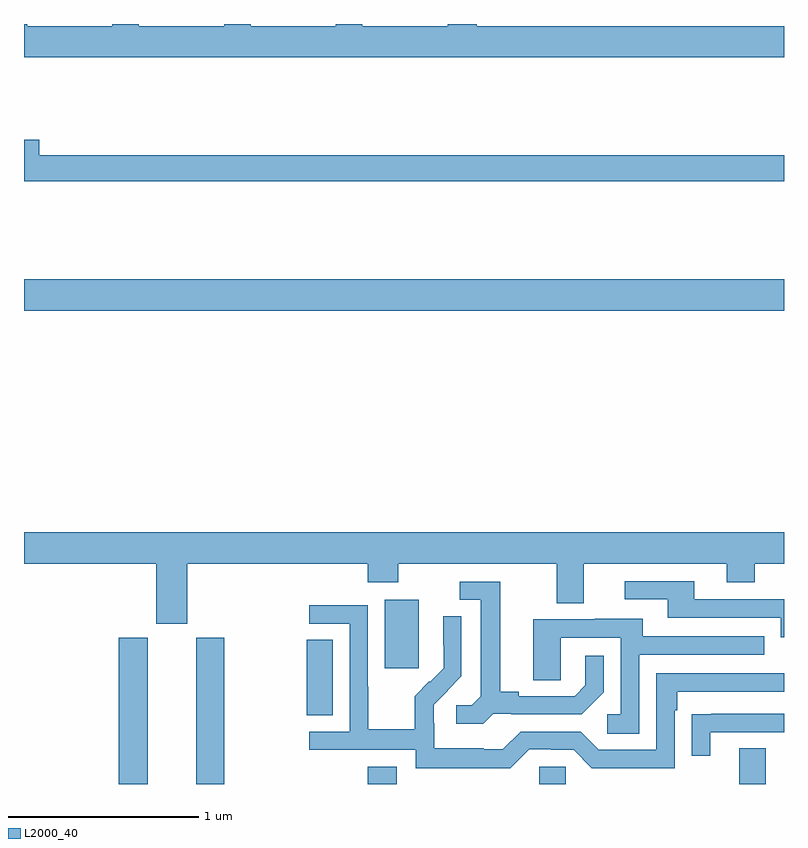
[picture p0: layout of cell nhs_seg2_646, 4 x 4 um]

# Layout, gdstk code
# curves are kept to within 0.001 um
import gdstk
lib = gdstk.Library(unit=1e-6, precision=1e-09)
def R(c, l, rs):  # rectangles x0, y0, x1, y1
    for r in rs: c.add(gdstk.rectangle(r[:2], r[2:], *l))
def P(c, l, *ps):  # polygons
    for p in ps: c.add(gdstk.Polygon(p, *l))
L2000_40 = (2000, 40)

nhs_seg2_646 = lib.new_cell('nhs_seg2_646')
R(nhs_seg2_646, L2000_40, [(143.498,655.8,143.65,656.571), (143.906,655.8,144.054,656.571), (144.809,655.8,144.961,655.891), (145.713,655.8,145.851,655.89), (146.765,655.8,146.905,655.987), (144.487,656.161,144.625,656.558), (144.899,656.409,145.078,656.77), (143,658.292,147,658.456)])
P(nhs_seg2_646, L2000_40, [(147,659.788),(145.382,659.788),(145.382,659.8),(145.229,659.8),(145.229,659.788),(144.781,659.788),(144.781,659.8),(144.641,659.8),(144.641,659.788),(144.193,659.788),(144.193,659.8),(144.053,659.8),(144.053,659.788),(143.605,659.788),(143.605,659.8),(143.465,659.8),(143.465,659.788),(143.017,659.788),(143.017,659.8),(143,659.8),(143,659.624),(147,659.624)],
  [(147,659.108),(143.08,659.108),(143.08,659.191),(143,659.191),(143,658.972),(147,658.972)],
  [(143,656.96),(143.696,656.96),(143.696,656.643),(143.86,656.643),(143.86,656.96),(144.809,656.96),(144.809,656.861),(144.969,656.861),(144.969,656.96),(145.805,656.96),(145.805,656.752),(145.945,656.752),(145.945,656.96),(146.699,656.96),(146.699,656.861),(146.847,656.861),(146.847,656.96),(147,656.96),(147,657.124),(143,657.124)],
  [(147,656.772),(146.527,656.772),(146.527,656.868),(146.163,656.868),(146.163,656.772),(146.387,656.772),(146.387,656.676),(146.982,656.676),(146.982,656.573),(147,656.573)],
  [(145.47,656.169),(145.564,656.169),(145.564,656.166),(145.936,656.166),(146.052,656.282),(146.052,656.476),(145.955,656.476),(145.955,656.319),(145.898,656.262),(145.603,656.262),(145.603,656.285),(145.507,656.285),(145.507,656.865),(145.293,656.865),(145.293,656.769),(145.403,656.769),(145.403,656.261),(145.356,656.214),(145.275,656.214),(145.275,656.117),(145.418,656.117)],
  [(145.659,655.983),(145.775,655.983),(145.775,655.98),(145.893,655.98),(145.989,655.884),(146.424,655.884),(146.424,656.189),(146.437,656.189),(146.437,656.286),(147,656.286),(147,656.382),(146.328,656.382),(146.328,655.98),(146.025,655.98),(145.929,656.076),(145.614,656.076),(145.521,655.983),(145.421,655.983),(145.421,655.987),(145.158,655.987),(145.158,656.121),(145.156,656.121),(145.156,656.218),(145.302,656.366),(145.302,656.684),(145.206,656.684),(145.206,656.53),(145.208,656.53),(145.208,656.408),(145.137,656.337),(145.134,656.34),(145.057,656.263),(145.057,656.089),(144.813,656.089),(144.813,656.312),(144.81,656.312),(144.81,656.742),(144.501,656.742),(144.501,656.643),(144.714,656.643),(144.714,656.076),(144.501,656.076),(144.501,655.98),(145.062,655.98),(145.062,655.883),(145.559,655.883)],
  [(146.238,656.481),(146.897,656.481),(146.897,656.577),(146.257,656.577),(146.257,656.671),(146.003,656.671),(146.003,656.667),(145.679,656.667),(145.679,656.347),(145.824,656.347),(145.824,656.571),(146.142,656.571),(146.142,656.166),(146.07,656.166),(146.07,656.065),(146.238,656.065)],
  [(146.611,656.073),(147,656.073),(147,656.169),(146.617,656.169),(146.617,656.168),(146.515,656.168),(146.515,655.95),(146.611,655.95)])

lib.write_gds('nhs_seg2_646.gds')
